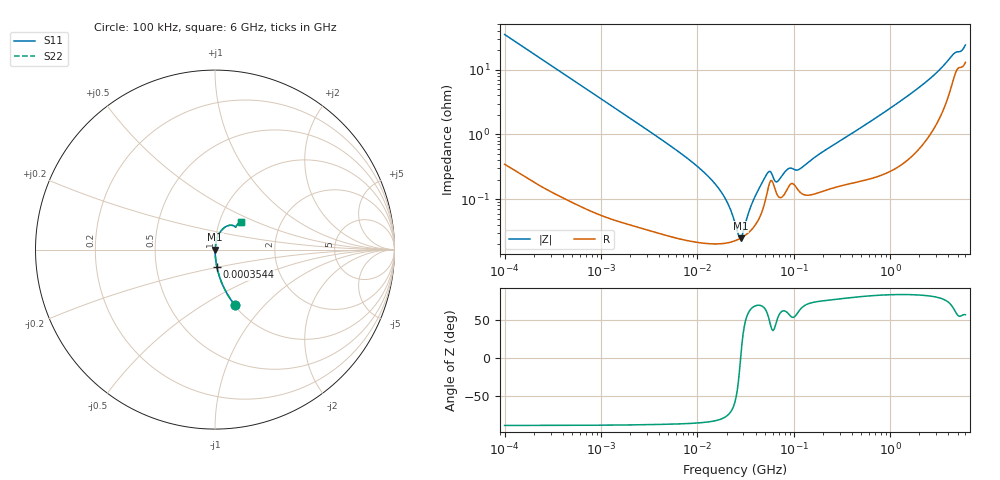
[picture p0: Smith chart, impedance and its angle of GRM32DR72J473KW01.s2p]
!Murata Part Number: GRM32DR72J473KW01
!These Parameters are Measured in Series Mode Connection
!Data Generated on Mar 30, 2021
!  o--ll--o
!Port1  Port2
!  o------o
!Operation Temp=25[degC], DC Bias Voltage=0[V]
!Freq. Start=100[kHz] Stop=6[GHz] 401[Steps]
# Hz S RI R 50
!Freq.(Hz) S11(Real) S11(Imag) S21(Real) S21(Imag) S12(Real) S12(Imag) S22(Real) S22(Imag)
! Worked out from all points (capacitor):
!   401 points, 100 kHz to 6 GHz, reference 50 ohm
!   read as one part in series: C = 45.4 nF near 105.7 kHz
!   lowest |Z| = 25 mohm at 28.11 MHz (marker M1)
!   series resonance near 28.02 MHz, so ESL is about 710 pH
!   S11 on the Smith chart (normalised r, x): 100 kHz: 1.01, -0.70; 354.4 kHz: 1.00, -0.20; 6 GHz: 1.26, +0.41
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100000  0.1116 -0.31  0.8884 0.31  0.8884 0.31  0.1116 -0.31
354395  0.0109 -0.0984  0.9891 0.0984  0.9891 0.0984  0.0109 -0.0984
631452  0.00388 -0.0558  0.9961 0.0558  0.9961 0.0558  0.00388 -0.0558
3987316  0.000374 -0.00884  0.9996 0.00884  0.9996 0.00884  0.000374 -0.00884
9100013  0.000232 -0.00358  0.9998 0.00358  0.9998 0.00358  0.000232 -0.00358
1.492997e7  0.000206 -0.00177  0.9998 0.00177  0.9998 0.00177  0.000206 -0.00177
2.020496e7  0.000211 -0.000889  0.9998 0.000889  0.9998 0.000889  0.000211 -0.000889
2.517799e7  0.000231 -0.00029  0.9998 0.00029  0.9998 0.00029  0.000231 -0.00029
2.660184e7  0.000239 -0.000141  0.9998 0.000141  0.9998 0.000141  0.000239 -0.000141
2.810622e7  0.00025 8.9e-06  0.9998 -8.9e-06  0.9998 -8.9e-06  0.00025 8.9e-06
2.969568e7  0.000262 0.000161  0.9997 -0.000161  0.9997 -0.000161  0.000262 0.000161
3.80366e7  0.000366 0.000897  0.9996 -0.000897  0.9996 -0.000897  0.000366 0.000897
5.291103e7  0.00128 0.00214  0.9987 -0.00214  0.9987 -0.00214  0.00128 0.00214
5.746221e7  0.00194 0.00178  0.9981 -0.00178  0.9981 -0.00178  0.00194 0.00178
6.777267e7  0.00114 0.0015  0.9989 -0.0015  0.9989 -0.0015  0.00114 0.0015
8.680865e7  0.0015 0.00252  0.9985 -0.00252  0.9985 -0.00252  0.0015 0.00252
1.111915e8  0.00137 0.00249  0.9986 -0.00249  0.9986 -0.00249  0.00137 0.00249
1.546735e8  0.00119 0.00396  0.9988 -0.00396  0.9988 -0.00396  0.00119 0.00396
9.76689e8  0.00324 0.0246  0.9968 -0.0246  0.9968 -0.0246  0.00324 0.0246
3.187187e9  0.0254 0.092  0.9746 -0.092  0.9746 -0.092  0.0254 0.092
4.433555e9  0.0808 0.1353  0.9192 -0.1353  0.9192 -0.1353  0.0808 0.1353
6e9  0.1426 0.1542  0.8574 -0.1542  0.8574 -0.1542  0.1426 0.1542
